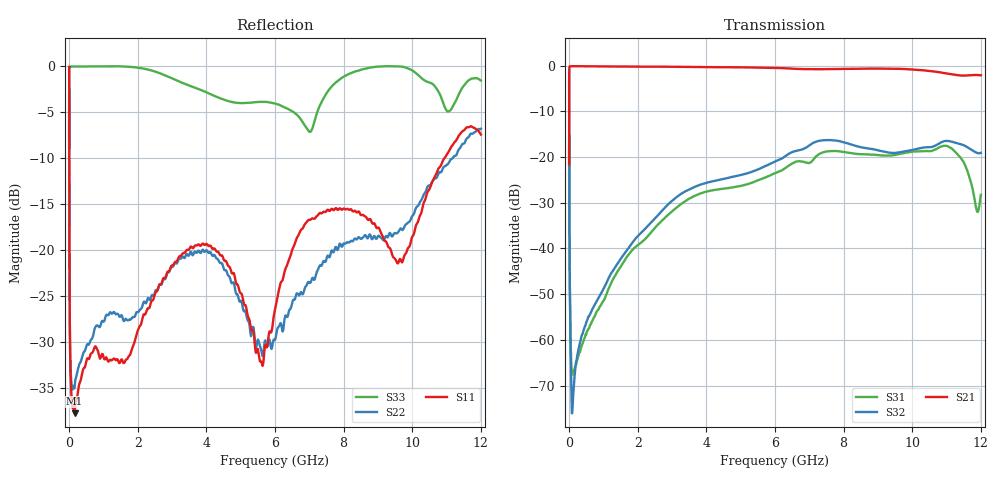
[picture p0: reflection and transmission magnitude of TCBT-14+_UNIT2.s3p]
!Mini-Circuits Laboratory
!S-Parameters
!Model:TCBT-14+
!Run/Lot/Date Code:MHU6270/NA/NA
!Fixture/SN/Due:90-4-20-188/73355/01-16-11
!Connection:PORT<1> - pin<2>, PORT<2> - pin<1>, PORT<3> - pin<3>;
!Unit S/N 2
!Agilent Technologies,N5230A,MY45001447,A.07.50.63
!Agilent N5230A: A.07.50.63
!Date: Friday, November 26, 2010 16:44:24
!Correction: S11(Full 3 Port(1,2,3))
!S12(Full 3 Port(1,2,3))
!S13(Full 3 Port(1,2,3))
!S21(Full 3 Port(1,2,3))
!S22(Full 3 Port(1,2,3))
!S23(Full 3 Port(1,2,3))
!S31(Full 3 Port(1,2,3))
!S32(Full 3 Port(1,2,3))
!S33(Full 3 Port(1,2,3))
!S3P File: Measurements: <S11,S12,S13>,
!<S21,S22,S23>,
!<S31,S32,S33>:
# Hz S  dB  R 50
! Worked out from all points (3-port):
!   621 points, 300 kHz to 12 GHz, reference 50 ohm
!   strongest paths, dB at 300 kHz, 2.7 GHz, 5.8 GHz, 8.9 GHz, 12 GHz:
!     S21: -21.7, -0.2, -0.5, -0.7, -2.1
!     S32: -1.1, -31.8, -21.7, -18.3, -19.1
!     S31: -21.6, -33.9, -24.2, -19.5, -28.3
!   lowest |S11| = -37.8 dB at 160 MHz (marker M1), VSWR 1.03, Z = 50 + j1.29 ohm
!   |S11| at or under -10 dB: 5.05 MHz to 10.95 GHz (10.95 GHz wide, 200 % of centre)
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300000  -0.10 -10.9  -21.67 63.9  -21.58 57.0
        -21.65 63.3  -8.91 -119.7  -1.08 -28.4
        -21.57 56.7  -1.11 -28.1  -7.99 -113.5
5000000  -9.86 -153.3  -0.91 47.3  -24.13 -119.9
         -0.90 47.3  -10.85 80.8  -22.67 -152.4
         -24.13 -119.9  -22.66 -152.3  -0.15 -171.4
1e7  -19.91 166.6  -0.28 22.2  -35.79 -145.0
     -0.27 22.2  -20.49 69.4  -35.34 -163.5
     -35.79 -145.5  -35.31 -163.8  -0.08 -176.1
5e7  -34.38 114.8  -0.16 4.1  -62.27 -134.3
     -0.15 4.1  -33.52 73.8  -64.47 -160.2
     -62.30 -135.4  -64.25 -161.8  -0.05 179.1
1.6e8  -37.80 89.2  -0.15 0.3  -66.30 -92.0
       -0.14 0.3  -35.01 53.6  -67.23 85.4
       -66.28 -87.9  -67.87 80.2  -0.04 174.8
2.3e9  -26.34 -148.3  -0.25 -12.1  -37.27 144.6
       -0.24 -12.1  -25.23 -45.9  -35.03 83.1
       -37.25 144.8  -35.02 83.1  -0.38 90.8
3.3e9  -20.45 -109.9  -0.29 -17.3  -30.09 93.9
       -0.29 -17.3  -20.76 -100.8  -27.90 47.0
       -30.08 93.9  -27.89 46.7  -1.83 13.9
6.02e9  -26.15 176.3  -0.51 -32.0  -23.44 -12.7
        -0.51 -32.0  -29.55 -65.7  -20.90 -40.3
        -23.46 -12.5  -20.90 -40.0  -4.09 -47.7
1.098e10  -9.82 27.2  -1.71 -65.2  -17.59 139.1
          -1.70 -65.1  -10.84 46.9  -16.52 135.3
          -17.55 139.0  -16.47 134.9  -4.71 -61.7
1.2e10  -7.45 37.9  -2.14 -68.6  -28.22 164.2
        -2.13 -68.9  -6.82 12.0  -19.12 101.9
        -28.29 164.1  -19.10 102.5  -1.57 -32.5
